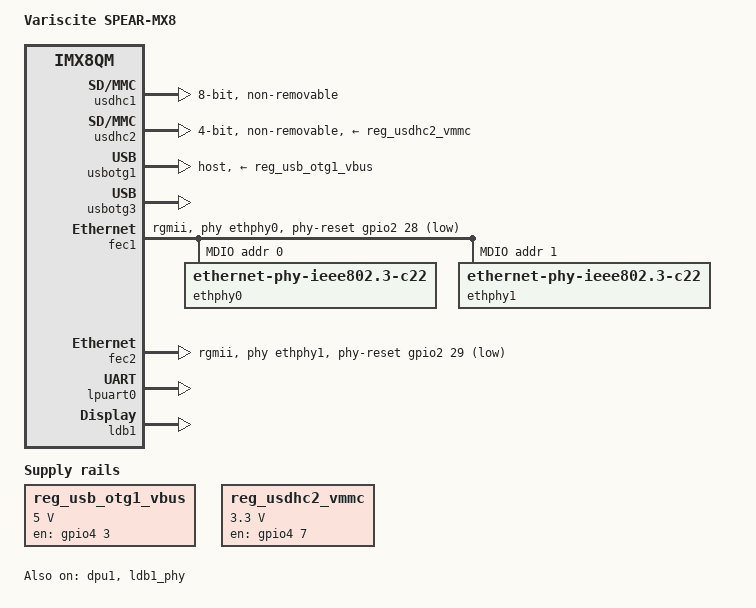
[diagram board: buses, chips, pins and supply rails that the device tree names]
// SPDX-License-Identifier: GPL-2.0+
/*
 * Copyright 2017-2018 NXP
 */

/dts-v1/;

#include "fsl-imx8qm.dtsi"

/ {
	model = "Variscite SPEAR-MX8";
	compatible = "variscite,imx8qm-var-spear", "fsl,imx8qm";

	chosen {
		bootargs = "console=ttyLP0,115200 earlycon";
		stdout-path = &lpuart0;
	};

	regulators {
		compatible = "simple-bus";
		#address-cells = <1>;
		#size-cells = <0>;

		reg_usb_otg1_vbus: regulator@0 {
			compatible = "regulator-fixed";
			reg = <0>;
			regulator-name = "usb_otg1_vbus";
			regulator-min-microvolt = <5000000>;
			regulator-max-microvolt = <5000000>;
			gpio = <&gpio4 3 GPIO_ACTIVE_HIGH>;
			enable-active-high;
		};

		reg_usdhc2_vmmc: usdhc2_vmmc {
			compatible = "regulator-fixed";
			regulator-name = "sw-3p3-sd1";
			regulator-min-microvolt = <3300000>;
			regulator-max-microvolt = <3300000>;
			gpio = <&gpio4 7 GPIO_ACTIVE_HIGH>;
			enable-active-high;
			startup-delay-us = <100>;
			u-boot,off-on-delay-us = <12000>;
		};
	};
};

&iomuxc {
	pinctrl-names = "default";

	imx8qm-var-spear {

		pinctrl_fec1: fec1grp {
			fsl,pins = <
				SC_P_COMP_CTL_GPIO_1V8_3V3_ENET_ENETB_PAD	0x000014a0
				SC_P_ENET0_MDC_CONN_ENET0_MDC			0x06000048
				SC_P_ENET0_MDIO_CONN_ENET0_MDIO			0x06000048
				SC_P_ENET0_RGMII_TX_CTL_CONN_ENET0_RGMII_TX_CTL	0x00000061
				SC_P_ENET0_RGMII_TXC_CONN_ENET0_RGMII_TXC	0x00000061
				SC_P_ENET0_RGMII_TXD0_CONN_ENET0_RGMII_TXD0	0x00000061
				SC_P_ENET0_RGMII_TXD1_CONN_ENET0_RGMII_TXD1	0x00000061
				SC_P_ENET0_RGMII_TXD2_CONN_ENET0_RGMII_TXD2	0x00000061
				SC_P_ENET0_RGMII_TXD3_CONN_ENET0_RGMII_TXD3	0x00000061
				SC_P_ENET0_RGMII_RXC_CONN_ENET0_RGMII_RXC	0x00000061
				SC_P_ENET0_RGMII_RX_CTL_CONN_ENET0_RGMII_RX_CTL	0x00000061
				SC_P_ENET0_RGMII_RXD0_CONN_ENET0_RGMII_RXD0	0x00000061
				SC_P_ENET0_RGMII_RXD1_CONN_ENET0_RGMII_RXD1	0x00000061
				SC_P_ENET0_RGMII_RXD2_CONN_ENET0_RGMII_RXD2	0x00000061
				SC_P_ENET0_RGMII_RXD3_CONN_ENET0_RGMII_RXD3	0x00000061
				SC_P_ESAI0_TX2_RX3_LSIO_GPIO2_IO28 		0x00000021
			>;
		};

		pinctrl_fec2: fec2grp {
			fsl,pins = <
				SC_P_COMP_CTL_GPIO_1V8_3V3_ENET_ENETA_PAD	0x000014a0
				SC_P_ENET1_RGMII_TX_CTL_CONN_ENET1_RGMII_TX_CTL	0x00000060
				SC_P_ENET1_RGMII_TXC_CONN_ENET1_RGMII_TXC	0x00000060
				SC_P_ENET1_RGMII_TXD0_CONN_ENET1_RGMII_TXD0	0x00000060
				SC_P_ENET1_RGMII_TXD1_CONN_ENET1_RGMII_TXD1	0x00000060
				SC_P_ENET1_RGMII_TXD2_CONN_ENET1_RGMII_TXD2	0x00000060
				SC_P_ENET1_RGMII_TXD3_CONN_ENET1_RGMII_TXD3	0x00000060
				SC_P_ENET1_RGMII_RXC_CONN_ENET1_RGMII_RXC	0x00000060
				SC_P_ENET1_RGMII_RX_CTL_CONN_ENET1_RGMII_RX_CTL	0x00000060
				SC_P_ENET1_RGMII_RXD0_CONN_ENET1_RGMII_RXD0	0x00000060
				SC_P_ENET1_RGMII_RXD1_CONN_ENET1_RGMII_RXD1	0x00000060
				SC_P_ENET1_RGMII_RXD2_CONN_ENET1_RGMII_RXD2	0x00000060
				SC_P_ENET1_RGMII_RXD3_CONN_ENET1_RGMII_RXD3	0x00000060
				SC_P_ESAI0_TX3_RX2_LSIO_GPIO2_IO29 		0x00000021
			>;
		};

		pinctrl_lpuart0: lpuart0grp {
			fsl,pins = <
				SC_P_UART0_RX_DMA_UART0_RX			0x06000020
				SC_P_UART0_TX_DMA_UART0_TX			0x06000020
			>;
		};

		pinctrl_usdhc1: usdhc1grp {
			fsl,pins = <
				SC_P_EMMC0_CLK_CONN_EMMC0_CLK			0x06000041
				SC_P_EMMC0_CMD_CONN_EMMC0_CMD			0x00000021
				SC_P_EMMC0_DATA0_CONN_EMMC0_DATA0		0x00000021
				SC_P_EMMC0_DATA1_CONN_EMMC0_DATA1		0x00000021
				SC_P_EMMC0_DATA2_CONN_EMMC0_DATA2		0x00000021
				SC_P_EMMC0_DATA3_CONN_EMMC0_DATA3		0x00000021
				SC_P_EMMC0_DATA4_CONN_EMMC0_DATA4		0x00000021
				SC_P_EMMC0_DATA5_CONN_EMMC0_DATA5		0x00000021
				SC_P_EMMC0_DATA6_CONN_EMMC0_DATA6		0x00000021
				SC_P_EMMC0_DATA7_CONN_EMMC0_DATA7		0x00000021
				SC_P_EMMC0_STROBE_CONN_EMMC0_STROBE		0x00000041
				SC_P_EMMC0_RESET_B_CONN_EMMC0_RESET_B		0x00000021
			>;
		};

		pinctrl_usdhc2_gpio: usdhc2grpgpio {
			fsl,pins = <
				SC_P_USDHC1_DATA7_LSIO_GPIO5_IO22		0x00000021
				SC_P_USDHC1_RESET_B_LSIO_GPIO4_IO07		0x00000021
			>;
		};

		pinctrl_usdhc2: usdhc2grp {
			fsl,pins = <
				SC_P_USDHC1_CLK_CONN_USDHC1_CLK			0x06000041
				SC_P_USDHC1_CMD_CONN_USDHC1_CMD			0x00000021
				SC_P_USDHC1_DATA0_CONN_USDHC1_DATA0		0x00000021
				SC_P_USDHC1_DATA1_CONN_USDHC1_DATA1		0x00000021
				SC_P_USDHC1_DATA2_CONN_USDHC1_DATA2		0x00000021
				SC_P_USDHC1_DATA3_CONN_USDHC1_DATA3		0x00000021
				SC_P_USDHC1_VSELECT_CONN_USDHC1_VSELECT		0x00000021
			>;
		};

		pinctrl_usdhc2_100mhz: usdhc2grp100mhz {
			fsl,pins = <
				SC_P_USDHC1_CLK_CONN_USDHC1_CLK			0x06000040
				SC_P_USDHC1_CMD_CONN_USDHC1_CMD			0x00000020
				SC_P_USDHC1_DATA0_CONN_USDHC1_DATA0		0x00000020
				SC_P_USDHC1_DATA1_CONN_USDHC1_DATA1		0x00000020
				SC_P_USDHC1_DATA2_CONN_USDHC1_DATA2		0x00000020
				SC_P_USDHC1_DATA3_CONN_USDHC1_DATA3		0x00000020
				SC_P_USDHC1_VSELECT_CONN_USDHC1_VSELECT		0x00000020
			>;
		};

		pinctrl_usdhc2_200mhz: usdhc2grp200mhz {
			fsl,pins = <
				SC_P_USDHC1_CLK_CONN_USDHC1_CLK			0x06000040
				SC_P_USDHC1_CMD_CONN_USDHC1_CMD			0x00000020
				SC_P_USDHC1_DATA0_CONN_USDHC1_DATA0		0x00000020
				SC_P_USDHC1_DATA1_CONN_USDHC1_DATA1		0x00000020
				SC_P_USDHC1_DATA2_CONN_USDHC1_DATA2		0x00000020
				SC_P_USDHC1_DATA3_CONN_USDHC1_DATA3		0x00000020
				SC_P_USDHC1_VSELECT_CONN_USDHC1_VSELECT		0x00000020
			>;
		};

		pinctrl_usbotg1: otg1grp {
			fsl,pins = <
				SC_P_USB_SS3_TC0_LSIO_GPIO4_IO03		0x06000048
			>;
		};

		pinctrl_backlight: backlightgrp {
			fsl,pins = <
				SC_P_LVDS0_GPIO00_LSIO_GPIO1_IO04		0x00000020
			>;
		};
	};
};

&usdhc1 {
	pinctrl-names = "default", "state_100mhz", "state_200mhz";
	pinctrl-0 = <&pinctrl_usdhc1>;
	pinctrl-1 = <&pinctrl_usdhc1>;
	pinctrl-2 = <&pinctrl_usdhc1>;
	bus-width = <8>;
	non-removable;
	status = "okay";
};

&usdhc2 {
	pinctrl-names = "default", "state_100mhz", "state_200mhz";
	pinctrl-0 = <&pinctrl_usdhc2>, <&pinctrl_usdhc2_gpio>;
	pinctrl-1 = <&pinctrl_usdhc2>, <&pinctrl_usdhc2_gpio>;
	pinctrl-2 = <&pinctrl_usdhc2>, <&pinctrl_usdhc2_gpio>;
	bus-width = <4>;
	non-removable;
	vmmc-supply = <&reg_usdhc2_vmmc>;
	status = "okay";
};

&gpio1 {
	status = "disabled";
};

&gpio2 {
	status = "okay";
};

&gpio4 {
	status = "okay";
};

&gpio5 {
	status = "okay";
};

&usbotg1 {
	dr_mode = "host";
	pinctrl-names = "default";
	pinctrl-0 = <&pinctrl_usbotg1>;
	vbus-supply = <&reg_usb_otg1_vbus>;
	srp-disable;
	hnp-disable;
	adp-disable;
	disable-over-current;
	status = "okay";
};

&usbotg3 {
	status = "okay";
};

&fec1 {
	pinctrl-names = "default";
	pinctrl-0 = <&pinctrl_fec1>;
	phy-mode = "rgmii";
	phy-handle = <&ethphy0>;
	phy-reset-gpios = <&gpio2 28 GPIO_ACTIVE_LOW>;
	fsl,magic-packet;
	status = "okay";

	mdio {
		#address-cells = <1>;
		#size-cells = <0>;

		ethphy0: ethernet-phy@0 {
			compatible = "ethernet-phy-ieee802.3-c22";
			reg = <0>;
			at803x,eee-disabled;
			at803x,vddio-1p8v;
		};

		ethphy1: ethernet-phy@1 {
			compatible = "ethernet-phy-ieee802.3-c22";
			reg = <1>;
			at803x,eee-disabled;
			at803x,vddio-1p8v;
		};
	};
};

&fec2 {
	pinctrl-names = "default";
	pinctrl-0 = <&pinctrl_fec2>;
	phy-mode = "rgmii";
	phy-handle = <&ethphy1>;
	fsl,magic-packet;
	phy-reset-gpios = <&gpio2 29 GPIO_ACTIVE_LOW>;
	status = "okay";
};

&lpuart0 { /* console */
	pinctrl-names = "default";
	pinctrl-0 = <&pinctrl_lpuart0>;
	status = "okay";
};

&dpu1 {
	status = "okay";
};

&gpio1 {
	pinctrl-names = "default";
	pinctrl-0 = <&pinctrl_backlight>;

	lvds_backlight_hog {
		gpio-hog;
		gpios = <1 4>;
		output-high;
		line-name = "lvds_backlight";
	};
};

&ldb1_phy {
	status = "okay";
};

&ldb1 {
	status = "okay";

	lvds-channel@0 {
		fsl,data-mapping = "jeida";
		fsl,data-width = <24>;
		status = "okay";

		display-timings {
			native-mode = <&timing0>;

			timing0: timing0 {
				clock-frequency = <35714000>;
				hactive = <800>;
				vactive = <480>;
				hback-porch = <40>;
				hfront-porch = <40>;
				vback-porch = <29>;
				vfront-porch = <13>;
				hsync-len = <48>;
				vsync-len = <3>;
			};
		};
	};
};

&tsens {
	tsens-num = <6>;
};

&thermal_zones {
	pmic-thermal0 {
		polling-delay-passive = <250>;
		polling-delay = <2000>;
		thermal-sensors = <&tsens 5>;
		trips {
			pmic_alert0: trip0 {
				temperature = <110000>;
				hysteresis = <2000>;
				type = "passive";
			};
			pmic_crit0: trip1 {
				temperature = <125000>;
				hysteresis = <2000>;
				type = "critical";
			};
		};
		cooling-maps {
			map0 {
				trip = <&pmic_alert0>;
				cooling-device =
				<&A53_0 THERMAL_NO_LIMIT THERMAL_NO_LIMIT>;
			};
			map1 {
				trip = <&pmic_alert0>;
				cooling-device =
				<&A72_0 THERMAL_NO_LIMIT THERMAL_NO_LIMIT>;
			};
		};
	};
};
